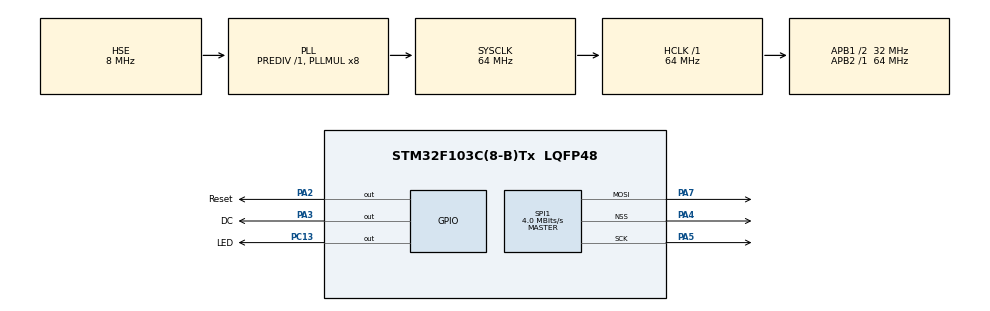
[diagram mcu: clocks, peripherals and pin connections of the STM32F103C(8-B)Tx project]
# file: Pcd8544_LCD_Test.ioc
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Mcu.Family=STM32F1
Mcu.Name=STM32F103C(8-B)Tx
Mcu.Package=LQFP48
NVIC.PriorityGroup=NVIC_PRIORITYGROUP_4
PA13.Mode=Serial_Wire
PA13.Signal=SYS_JTMS-SWDIO
PA14.Mode=Serial_Wire
PA14.Signal=SYS_JTCK-SWCLK
PA2.GPIO_Label=Reset
PA2.GPIO_PuPd=GPIO_PULLDOWN
PA2.Signal=GPIO_Output
PA3.GPIO_Label=DC
PA3.Signal=GPIO_Output
PA4.Mode=NSS_Signal_Hard_Output
PA4.Signal=SPI1_NSS
PA5.Mode=TX_Only_Simplex_Unidirect_Master
PA5.Signal=SPI1_SCK
PA7.Mode=TX_Only_Simplex_Unidirect_Master
PA7.Signal=SPI1_MOSI
PC13-TAMPER-RTC.GPIO_Label=LED
PC13-TAMPER-RTC.Signal=GPIO_Output
PD0-OSC_IN.Mode=HSE-External-Oscillator
PD0-OSC_IN.Signal=RCC_OSC_IN
PD1-OSC_OUT.Mode=HSE-External-Oscillator
PD1-OSC_OUT.Signal=RCC_OSC_OUT
ProjectManager.HeapSize=0x200
ProjectManager.StackSize=0x400
ProjectManager.TargetToolchain=STM32CubeIDE
RCC.AHBFreq_Value=64000000
RCC.APB1CLKDivider=RCC_HCLK_DIV2
RCC.APB1Freq_Value=32000000
RCC.APB1TimFreq_Value=64000000
RCC.APB2Freq_Value=64000000
RCC.APB2TimFreq_Value=64000000
RCC.HCLKFreq_Value=64000000
RCC.PLLMUL=RCC_PLL_MUL8
RCC.PLLSourceVirtual=RCC_PLLSOURCE_HSE
RCC.SYSCLKFreq_VALUE=64000000
RCC.SYSCLKSource=RCC_SYSCLKSOURCE_PLLCLK
RCC.USBFreq_Value=64000000
SPI1.BaudRatePrescaler=SPI_BAUDRATEPRESCALER_16
SPI1.CalculateBaudRate=4.0 MBits/s
SPI1.Direction=SPI_DIRECTION_2LINES
SPI1.Mode=SPI_MODE_MASTER
SPI1.VirtualNSS=VM_NSSHARD
SPI1.VirtualType=VM_MASTER
board=custom

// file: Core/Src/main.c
/* USER CODE BEGIN Header */
/**
  ******************************************************************************
  * @file           : main.c
  * @brief          : Main program body
  ******************************************************************************
  * @attention
  *
  * <h2><center>&copy; Copyright (c) 2021 STMicroelectronics.
  * All rights reserved.</center></h2>
  *
  * This software component is licensed by ST under BSD 3-Clause license,
  * the "License"; You may not use this file except in compliance with the
  * License. You may obtain a copy of the License at:
  *                        opensource.org/licenses/BSD-3-Clause
  *
  ******************************************************************************
  */
/* USER CODE END Header */
#include "main.h"

/* USER CODE BEGIN Includes */
#include "string.h"
#include "image.h"

/* USER CODE END Includes */

SPI_HandleTypeDef hspi1;

void SystemClock_Config(void);
static void MX_GPIO_Init(void);
static void MX_SPI1_Init(void);

/* USER CODE BEGIN 0 */
void led_on()
{
  HAL_GPIO_WritePin(LED_GPIO_Port, LED_Pin, GPIO_PIN_RESET);
}

void led_off()
{
  HAL_GPIO_WritePin(LED_GPIO_Port, LED_Pin, GPIO_PIN_SET);
}

void led_toggle()
{
  HAL_GPIO_TogglePin(LED_GPIO_Port, LED_Pin);
}

// 84 px wide * 6 rows
#define LCD_RAM_SIZE 504

void lcd_send_byte(uint8_t byte)
{
	HAL_SPI_Transmit(&hspi1, &byte, sizeof(byte), 10);
}

// Enable the command mode
void lcd_command_enable()
{
	HAL_GPIO_WritePin(DC_GPIO_Port, DC_Pin, GPIO_PIN_RESET);
}

// Enable the data mode
void lcd_command_disable()
{
	HAL_GPIO_WritePin(DC_GPIO_Port, DC_Pin, GPIO_PIN_SET);
}

void lcd_command(uint8_t byte)
{
	lcd_command_enable();
	lcd_send_byte(byte);
	lcd_command_disable();
}

void lcd_data(uint8_t byte)
{
	// Assume that data mode is already enabled for bandwidth optimisation
	lcd_send_byte(byte);
}

void lcd_reset(){
	HAL_GPIO_WritePin(Reset_GPIO_Port, Reset_Pin, GPIO_PIN_RESET);
	// Generate at least 1 clock impulse
	lcd_send_byte(0);
	HAL_GPIO_WritePin(Reset_GPIO_Port, Reset_Pin, GPIO_PIN_SET);
}

void lcd_extended_commands_on()
{
	// Power on; horizontal addressing; extended instruction set control on (H=1)
	lcd_command(0x21);
}

void lcd_extended_commands_off()
{
	// Power on; horizontal addressing; extended instruction set control off (H=0)
//  lcd_command(0x20);
	// Power on; vertical addressing; extended instruction set control off (H=0)
	lcd_command(0x22);
}

void lcd_basic_command(uint8_t command)
{
	lcd_extended_commands_off();
	lcd_command(command);
}

void lcd_extended_command(uint8_t command)
{
	lcd_extended_commands_on();
	lcd_command(command);
	lcd_extended_commands_off();
}

// Contrast parameter from 0 to 7. Higher value means less contrast
void lcd_contrast(uint8_t contrast)
{
	// Bias system
	lcd_extended_command(0x10 | contrast);
}

// Brightness parameter from 0 to 0x7F. Higher value means darker display
void lcd_brightness(uint8_t brightness)
{
	lcd_extended_command(0x80 | brightness);
}

// All display segments on
void lcd_display_all_segments()
{
	lcd_basic_command(0x09);
}

// Set normal display mode (dark pixels on light background)
void lcd_display_normal_mode()
{
	lcd_basic_command(0x0C);
}

// Set inverted display mode (light pixels on dark background)
void lcd_display_inverted_mode()
{
	lcd_basic_command(0x0D);
}

// X in range [0; 83]
void lcd_set_x(uint8_t x)
{
	lcd_basic_command(0x80 | x);
}

// Y in range [0; 5]
void lcd_set_y(uint8_t y)
{
	lcd_basic_command(0x40 | y);
}

void set_position(uint8_t x, uint8_t y)
{
	lcd_set_x(x);
	lcd_set_y(y);
}

void lcd_fill(uint8_t pattern)
{
	for (int i=0; i<LCD_RAM_SIZE; i++)
	{
		lcd_data(pattern);
	}
}

void lcd_clear()
{
	lcd_fill(0);
}

void lcd_init()
{
	lcd_reset();

	lcd_clear();

	// Bias system #3 with code 0x4
	lcd_contrast(0x4);

//	lcd_brightness(0x3F);
	lcd_brightness(0x3D);

	lcd_display_normal_mode();
}

void lcd_test(uint32_t delay)
{
	lcd_display_all_segments();
	HAL_Delay(delay);
	lcd_display_normal_mode();
}

void transpond_symbol_8x5(uint8_t *original_symbol, uint8_t *new_symbol)
{
	uint8_t new_width = 5;
	uint8_t new_height = 8;

	for (int i=0; i<new_height; i++)
	{
		uint8_t mask = 0x80;
		for (int j=0; j<new_width; j++)
		{
			new_symbol[i] |= original_symbol[j] & mask;
			mask >>= 1;
		}
	}
}

uint8_t reverse(uint8_t b) {
   b = (b & 0xF0) >> 4 | (b & 0x0F) << 4;
   b = (b & 0xCC) >> 2 | (b & 0x33) << 2;
   b = (b & 0xAA) >> 1 | (b & 0x55) << 1;
   return b;
}

/* USER CODE END 0 */

int main(void)
{

  /* MCU Configuration--------------------------------------------------------*/

  /* Reset of all peripherals, Initializes the Flash interface and the Systick. */
  HAL_Init();

  /* Configure the system clock */
  SystemClock_Config();

  /* Initialize all configured peripherals */
  MX_GPIO_Init();
  MX_SPI1_Init();
  /* USER CODE BEGIN 2 */

  //  Initialization sequence blinking
//  led_on();
//  HAL_Delay(2000);
//  led_off();
//  HAL_Delay(1000);

  lcd_init();
  lcd_test(500);
//  lcd_fill(0xF0);

  /* USER CODE END 2 */

  /* Infinite loop */
  /* USER CODE BEGIN WHILE */

  lcd_clear();
  HAL_Delay(500);

  for (int i=0; i<LCD_RAM_SIZE; i++)
  {
	  lcd_data(~reverse(image_data_Image[i]));
  }

  int i=0;

  while (1)
  {
//	  HAL_GPIO_TogglePin(LED_GPIO_Port, LED_Pin);
//	  HAL_Delay(500);
//	  lcd_fill(0xF0);
//	  lcd_fill(0x0F);

//	  uint8_t pattern = i++%2 == 1 ? 0xFF : 0;
//	  i++;

    /* USER CODE END WHILE */

  }
}

void SystemClock_Config(void)
{
  RCC_OscInitTypeDef RCC_OscInitStruct = {0};
  RCC_ClkInitTypeDef RCC_ClkInitStruct = {0};

  /** Initializes the RCC Oscillators according to the specified parameters
  * in the RCC_OscInitTypeDef structure.
  */
  RCC_OscInitStruct.OscillatorType = RCC_OSCILLATORTYPE_HSE;
  RCC_OscInitStruct.HSEState = RCC_HSE_ON;
  RCC_OscInitStruct.HSEPredivValue = RCC_HSE_PREDIV_DIV1;
  RCC_OscInitStruct.HSIState = RCC_HSI_ON;
  RCC_OscInitStruct.PLL.PLLState = RCC_PLL_ON;
  RCC_OscInitStruct.PLL.PLLSource = RCC_PLLSOURCE_HSE;
  RCC_OscInitStruct.PLL.PLLMUL = RCC_PLL_MUL8;
  if (HAL_RCC_OscConfig(&RCC_OscInitStruct) != HAL_OK)
  {
    Error_Handler();
  }
  /** Initializes the CPU, AHB and APB buses clocks
  */
  RCC_ClkInitStruct.ClockType = RCC_CLOCKTYPE_HCLK|RCC_CLOCKTYPE_SYSCLK
                              |RCC_CLOCKTYPE_PCLK1|RCC_CLOCKTYPE_PCLK2;
  RCC_ClkInitStruct.SYSCLKSource = RCC_SYSCLKSOURCE_PLLCLK;
  RCC_ClkInitStruct.AHBCLKDivider = RCC_SYSCLK_DIV1;
  RCC_ClkInitStruct.APB1CLKDivider = RCC_HCLK_DIV2;
  RCC_ClkInitStruct.APB2CLKDivider = RCC_HCLK_DIV1;

  if (HAL_RCC_ClockConfig(&RCC_ClkInitStruct, FLASH_LATENCY_2) != HAL_OK)
  {
    Error_Handler();
  }
}

static void MX_SPI1_Init(void)
{

  /* SPI1 parameter configuration*/
  hspi1.Instance = SPI1;
  hspi1.Init.Mode = SPI_MODE_MASTER;
  hspi1.Init.Direction = SPI_DIRECTION_2LINES;
  hspi1.Init.DataSize = SPI_DATASIZE_8BIT;
  hspi1.Init.CLKPolarity = SPI_POLARITY_LOW;
  hspi1.Init.CLKPhase = SPI_PHASE_1EDGE;
  hspi1.Init.NSS = SPI_NSS_HARD_OUTPUT;
  hspi1.Init.BaudRatePrescaler = SPI_BAUDRATEPRESCALER_16;
  hspi1.Init.FirstBit = SPI_FIRSTBIT_MSB;
  hspi1.Init.TIMode = SPI_TIMODE_DISABLE;
  hspi1.Init.CRCCalculation = SPI_CRCCALCULATION_DISABLE;
  hspi1.Init.CRCPolynomial = 10;
  if (HAL_SPI_Init(&hspi1) != HAL_OK)
  {
    Error_Handler();
  }

}

static void MX_GPIO_Init(void)
{
  GPIO_InitTypeDef GPIO_InitStruct = {0};

  /* GPIO Ports Clock Enable */
  __HAL_RCC_GPIOC_CLK_ENABLE();
  __HAL_RCC_GPIOD_CLK_ENABLE();
  __HAL_RCC_GPIOA_CLK_ENABLE();

  /*Configure GPIO pin Output Level */
  HAL_GPIO_WritePin(LED_GPIO_Port, LED_Pin, GPIO_PIN_RESET);

  /*Configure GPIO pin Output Level */
  HAL_GPIO_WritePin(GPIOA, Reset_Pin|DC_Pin, GPIO_PIN_RESET);

  /*Configure GPIO pin : LED_Pin */
  GPIO_InitStruct.Pin = LED_Pin;
  GPIO_InitStruct.Mode = GPIO_MODE_OUTPUT_PP;
  GPIO_InitStruct.Pull = GPIO_NOPULL;
  GPIO_InitStruct.Speed = GPIO_SPEED_FREQ_LOW;
  HAL_GPIO_Init(LED_GPIO_Port, &GPIO_InitStruct);

  /*Configure GPIO pin : Reset_Pin */
  GPIO_InitStruct.Pin = Reset_Pin;
  GPIO_InitStruct.Mode = GPIO_MODE_OUTPUT_PP;
  GPIO_InitStruct.Pull = GPIO_PULLDOWN;
  GPIO_InitStruct.Speed = GPIO_SPEED_FREQ_LOW;
  HAL_GPIO_Init(Reset_GPIO_Port, &GPIO_InitStruct);

  /*Configure GPIO pin : DC_Pin */
  GPIO_InitStruct.Pin = DC_Pin;
  GPIO_InitStruct.Mode = GPIO_MODE_OUTPUT_PP;
  GPIO_InitStruct.Pull = GPIO_NOPULL;
  GPIO_InitStruct.Speed = GPIO_SPEED_FREQ_LOW;
  HAL_GPIO_Init(DC_GPIO_Port, &GPIO_InitStruct);

}

void Error_Handler(void)
{
  __disable_irq();
  while (1)
  {
  }
}

/************************ (C) COPYRIGHT STMicroelectronics *****END OF FILE****/
